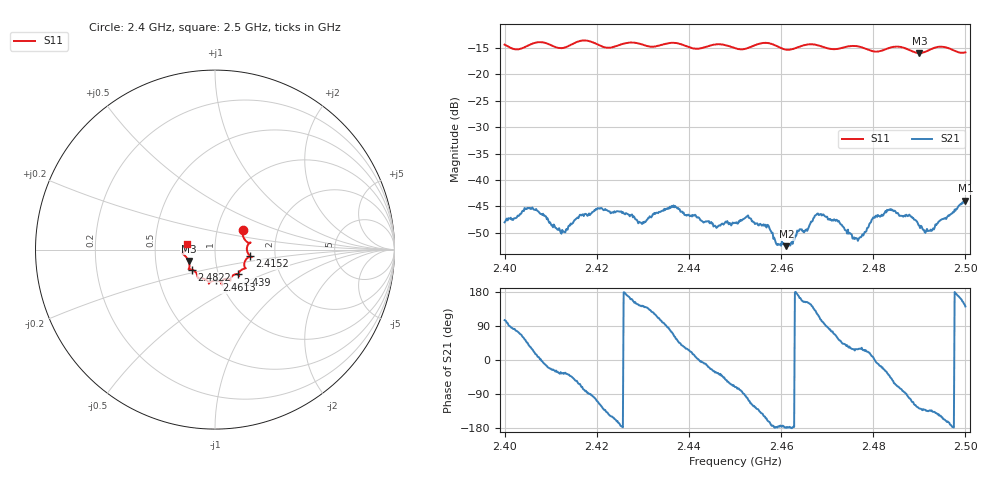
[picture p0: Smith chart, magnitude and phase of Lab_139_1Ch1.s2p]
# Hz S RI R 50
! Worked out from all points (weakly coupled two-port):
!   601 points, 2.4 GHz to 2.5 GHz, reference 50 ohm
!   highest |S21| = -43.93 dB at 2.5 GHz (marker M1); lowest = -52.6 dB at 2.4612 GHz (marker M2)
!   lowest |S11| = -15.9 dB at 2.49 GHz (marker M3), VSWR 1.38, Z = 37 - j4.82 ohm
!   |S11| at or under -10 dB: start of sweep to end of sweep
!   S12 and S22 are empty: the file has one direction only
!   S11 on the Smith chart (normalised r, x): 2.4 GHz: 1.33, +0.31; 2.4152 GHz: 1.48, -0.11; 2.439 GHz: 1.24, -0.36; 2.4613 GHz: 0.96, -0.34; 2.4822 GHz: 0.76, -0.17; 2.5 GHz: 0.73, +0.05
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2.4e9  0.1556 0.1117  -0.00103 0.00382  0 0  0 0
2.4055e9  0.1878 0.038  0.00446 0.00312  0 0  0 0
2.412667e9  0.1782 -0.0046  0.00265 -0.00181  0 0  0 0
2.415167e9  0.1952 -0.0362  0.00257 -0.00325  0 0  0 0
2.416667e9  0.2048 -0.0424  0.00149 -0.00435  0 0  0 0
2.420667e9  0.1822 -0.0463  -0.00241 -0.00475  0 0  0 0
2.429833e9  0.1599 -0.1072  -0.00306 0.00228  0 0  0 0
2.433333e9  0.1323 -0.132  -0.0017 0.00453  0 0  0 0
2.439e9  0.1279 -0.1385  0.00386 0.00265  0 0  0 0
2.445833e9  0.0852 -0.1731  0.00303 -0.00192  0 0  0 0
2.45e9  0.0691 -0.1635  0.00125 -0.00372  0 0  0 0
2.453e9  0.039 -0.175  -0.00132 -0.00417  0 0  0 0
2.461167e9  0.00965 -0.1714  -0.00235 -4.91e-05  0 0  0 0
2.461333e9  0.00729 -0.1713  -0.00241 -0.000136  0 0  0 0
2.466667e9  -0.0339 -0.1902  -0.00318 0.00246  0 0  0 0
2.469e9  -0.0365 -0.1795  -0.000885 0.0046  0 0  0 0
2.4765e9  -0.0949 -0.159  0.00244 0.00133  0 0  0 0
2.482167e9  -0.1283 -0.1115  0.00423 -0.00184  0 0  0 0
2.483333e9  -0.1396 -0.1098  0.00402 -0.00328  0 0  0 0
2.49e9  -0.1464 -0.0636  -0.00226 -0.00291  0 0  0 0
2.492667e9  -0.1719 -0.0304  -0.00224 -0.0024  0 0  0 0
2.5e9  -0.1584 0.0338  -0.00497 0.00397  0 0  0 0
